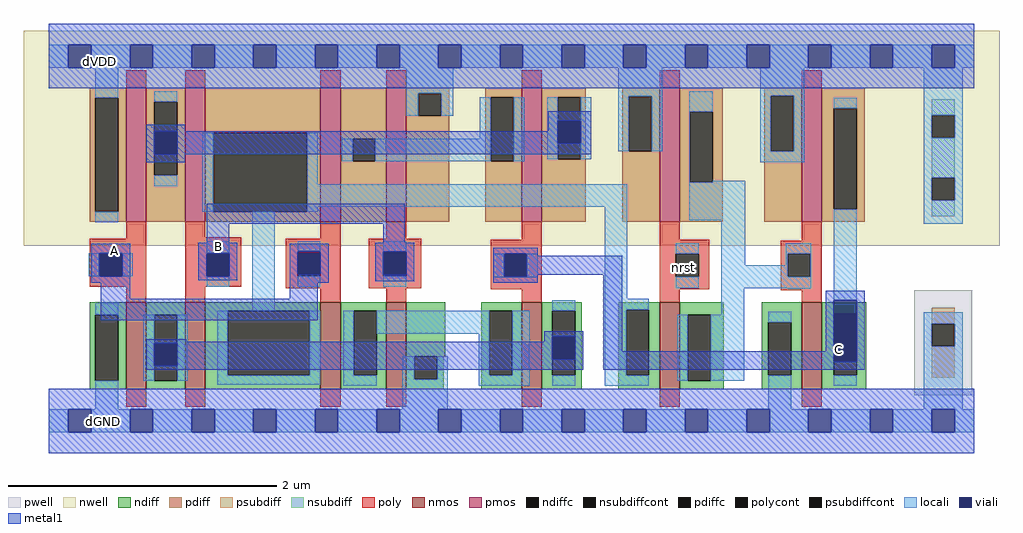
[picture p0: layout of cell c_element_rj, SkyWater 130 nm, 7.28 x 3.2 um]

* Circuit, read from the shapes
.subckt c_element_rj nrst A dVDD B C dGND
XM1 n1 A dGND dGND sky130_fd_pr__nfet_01v8 w=0.65 l=0.15
XM2 n2 B n1 dGND sky130_fd_pr__nfet_01v8 w=0.65 l=0.15
XM3 n3 A n2 dGND sky130_fd_pr__nfet_01v8 w=0.65 l=0.15
XM4 dGND B n3 dGND sky130_fd_pr__nfet_01v8 w=0.65 l=0.15
XM5 n1 C n3 dGND sky130_fd_pr__nfet_01v8 w=0.65 l=0.15
XM6 n4 nrst n2 dGND sky130_fd_pr__nfet_01v8 w=0.65 l=0.15
XM7 C n4 dGND dGND sky130_fd_pr__nfet_01v8 w=0.65 l=0.15
XM8 n5 A dVDD dVDD sky130_fd_pr__pfet_01v8 w=1 l=0.15
XM9 n2 B n5 dVDD sky130_fd_pr__pfet_01v8 w=1 l=0.15
XM10 n6 A n2 dVDD sky130_fd_pr__pfet_01v8 w=1 l=0.15
XM11 dVDD B n6 dVDD sky130_fd_pr__pfet_01v8 w=1 l=0.15
XM12 n5 C n6 dVDD sky130_fd_pr__pfet_01v8 w=1 l=0.15
XM13 n4 nrst dVDD dVDD sky130_fd_pr__pfet_01v8 w=1 l=0.15
XM14 C n4 dVDD dVDD sky130_fd_pr__pfet_01v8 w=1 l=0.15
.ends

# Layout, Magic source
magic
tech sky130A
magscale 1 2
<< nwell >>
rect 0 309 1456 630
<< pwell >>
rect 1329 86 1415 243
<< nmos >>
rect 153 95 183 225
rect 241 95 271 225
rect 443 95 473 225
rect 541 95 571 225
rect 743 95 773 225
rect 949 95 979 225
rect 1161 95 1191 225
<< pmos >>
rect 153 345 183 545
rect 241 345 271 545
rect 443 345 473 545
rect 541 345 571 545
rect 743 345 773 545
rect 949 345 979 545
rect 1161 345 1191 545
<< ndiff >>
rect 99 206 153 225
rect 99 108 107 206
rect 141 108 153 206
rect 99 95 153 108
rect 183 206 241 225
rect 183 108 195 206
rect 229 108 241 206
rect 183 95 241 108
rect 271 212 443 225
rect 271 116 305 212
rect 427 116 443 212
rect 271 95 443 116
rect 473 212 541 225
rect 473 116 493 212
rect 527 116 541 212
rect 473 95 541 116
rect 571 144 629 225
rect 683 212 743 225
rect 571 110 583 144
rect 617 110 627 144
rect 571 95 627 110
rect 683 116 695 212
rect 729 116 743 212
rect 683 95 743 116
rect 773 212 833 225
rect 773 116 789 212
rect 823 116 833 212
rect 773 95 833 116
rect 887 214 949 225
rect 887 116 899 214
rect 933 116 949 214
rect 887 95 949 116
rect 979 206 1045 225
rect 979 108 991 206
rect 1025 108 1045 206
rect 979 95 1045 108
rect 1101 195 1161 225
rect 1101 116 1111 195
rect 1145 116 1161 195
rect 1101 95 1161 116
rect 1191 208 1257 225
rect 1191 116 1209 208
rect 1243 116 1257 208
rect 1191 95 1257 116
<< pdiff >>
rect 99 530 153 545
rect 99 360 107 530
rect 141 360 153 530
rect 99 345 153 360
rect 183 524 241 545
rect 183 414 195 524
rect 229 414 241 524
rect 183 345 241 414
rect 271 478 443 545
rect 271 360 283 478
rect 423 360 443 478
rect 271 345 443 360
rect 473 469 541 545
rect 473 435 491 469
rect 525 435 541 469
rect 473 345 541 435
rect 571 537 635 545
rect 571 503 589 537
rect 623 503 635 537
rect 571 345 635 503
rect 689 531 743 545
rect 689 435 697 531
rect 731 435 743 531
rect 689 345 743 435
rect 773 531 839 545
rect 773 438 797 531
rect 831 438 839 531
rect 773 345 839 438
rect 893 532 949 545
rect 893 450 903 532
rect 937 450 949 532
rect 893 345 949 450
rect 979 509 1043 545
rect 979 404 994 509
rect 1028 404 1043 509
rect 979 345 1043 404
rect 1105 533 1161 545
rect 1105 450 1115 533
rect 1149 450 1161 533
rect 1105 345 1161 450
rect 1191 514 1255 545
rect 1191 364 1209 514
rect 1243 364 1255 514
rect 1191 345 1255 364
<< ndiffc >>
rect 107 108 141 206
rect 195 108 229 206
rect 305 116 427 212
rect 493 116 527 212
rect 583 110 617 144
rect 695 116 729 212
rect 789 116 823 212
rect 899 116 933 214
rect 991 108 1025 206
rect 1111 116 1145 195
rect 1209 116 1243 208
<< pdiffc >>
rect 107 360 141 530
rect 195 414 229 524
rect 283 360 423 478
rect 491 435 525 469
rect 589 503 623 537
rect 697 435 731 531
rect 797 438 831 531
rect 903 450 937 532
rect 994 404 1028 509
rect 1115 450 1149 533
rect 1209 364 1243 514
<< psubdiff >>
rect 1355 193 1389 217
rect 1355 112 1389 159
<< nsubdiff >>
rect 1355 504 1389 528
rect 1355 411 1389 470
rect 1355 353 1389 377
<< psubdiffcont >>
rect 1355 159 1389 193
<< nsubdiffcont >>
rect 1355 470 1389 504
rect 1355 377 1389 411
<< poly >>
rect 153 545 183 571
rect 241 545 271 571
rect 443 545 473 571
rect 541 545 571 571
rect 743 545 773 571
rect 949 545 979 571
rect 1161 545 1191 571
rect 153 320 183 345
rect 99 298 183 320
rect 99 264 113 298
rect 147 264 183 298
rect 99 248 183 264
rect 153 225 183 248
rect 241 322 271 345
rect 241 298 325 322
rect 443 320 473 345
rect 541 320 571 345
rect 241 264 273 298
rect 307 264 325 298
rect 241 248 325 264
rect 391 298 473 320
rect 391 264 409 298
rect 443 264 473 298
rect 241 225 271 248
rect 391 246 473 264
rect 515 298 593 320
rect 743 318 773 345
rect 515 264 537 298
rect 571 264 593 298
rect 515 246 593 264
rect 697 297 773 318
rect 697 263 717 297
rect 751 263 773 297
rect 443 225 473 246
rect 541 225 571 246
rect 697 244 773 263
rect 743 225 773 244
rect 949 318 979 345
rect 949 297 1023 318
rect 1161 317 1191 345
rect 949 263 973 297
rect 1007 263 1023 297
rect 949 244 1023 263
rect 1130 297 1191 317
rect 1130 263 1140 297
rect 1174 263 1191 297
rect 949 225 979 244
rect 1130 243 1191 263
rect 1161 225 1191 243
rect 153 69 183 95
rect 241 69 271 95
rect 443 69 473 95
rect 541 69 571 95
rect 743 69 773 95
rect 949 69 979 95
rect 1161 69 1191 95
<< polycont >>
rect 113 264 147 298
rect 273 264 307 298
rect 409 264 443 298
rect 537 264 571 298
rect 717 263 751 297
rect 973 263 1007 297
rect 1140 263 1174 297
<< locali >>
rect 38 575 67 609
rect 101 575 159 609
rect 193 575 251 609
rect 285 575 343 609
rect 377 575 435 609
rect 469 575 527 609
rect 561 575 619 609
rect 653 575 711 609
rect 745 575 803 609
rect 837 575 895 609
rect 929 575 987 609
rect 1021 575 1079 609
rect 1113 575 1171 609
rect 1205 575 1263 609
rect 1297 575 1355 609
rect 1389 575 1418 609
rect 103 574 141 575
rect 567 574 641 575
rect 107 530 141 574
rect 195 524 229 540
rect 571 537 641 574
rect 571 503 589 537
rect 623 503 641 537
rect 887 532 953 575
rect 195 398 229 414
rect 267 360 283 478
rect 423 401 439 478
rect 681 469 697 531
rect 475 435 491 469
rect 525 435 697 469
rect 731 435 747 531
rect 781 438 797 531
rect 831 438 847 531
rect 887 450 903 532
rect 937 450 953 532
rect 993 509 1028 540
rect 993 404 994 509
rect 1099 533 1165 575
rect 1099 450 1115 533
rect 1149 450 1165 533
rect 1099 434 1165 450
rect 1209 514 1243 530
rect 1028 404 1077 406
rect 423 367 901 401
rect 423 360 439 367
rect 107 344 141 360
rect 273 298 307 316
rect 97 264 113 298
rect 147 264 163 298
rect 273 248 307 264
rect 107 206 141 224
rect 341 212 375 360
rect 409 301 443 316
rect 409 248 443 264
rect 537 300 571 316
rect 537 248 571 264
rect 701 263 717 297
rect 751 263 767 297
rect 701 262 767 263
rect 867 230 901 367
rect 993 347 1077 404
rect 973 297 1007 313
rect 973 246 1007 263
rect 1041 280 1077 347
rect 1137 297 1175 313
rect 1137 280 1140 297
rect 1041 263 1140 280
rect 1174 263 1175 297
rect 1041 246 1175 263
rect 789 212 823 228
rect 179 108 195 206
rect 229 108 245 206
rect 289 116 305 212
rect 427 116 443 212
rect 107 65 141 108
rect 289 102 443 116
rect 477 116 493 212
rect 527 178 695 212
rect 477 100 527 116
rect 565 110 583 144
rect 617 110 633 144
rect 565 65 633 110
rect 679 116 695 178
rect 729 116 755 212
rect 679 100 755 116
rect 789 100 823 116
rect 867 214 933 230
rect 867 116 899 214
rect 1041 206 1075 246
rect 1140 245 1174 246
rect 1209 228 1243 364
rect 1343 504 1401 575
rect 1343 470 1355 504
rect 1389 470 1401 504
rect 1343 411 1401 470
rect 1343 377 1355 411
rect 1389 377 1401 411
rect 1343 342 1401 377
rect 867 100 933 116
rect 975 108 991 206
rect 1025 108 1075 206
rect 1111 195 1145 211
rect 1111 65 1145 116
rect 1209 100 1243 116
rect 1343 193 1401 210
rect 1343 159 1355 193
rect 1389 159 1401 193
rect 1343 65 1401 159
rect 38 31 67 65
rect 101 31 159 65
rect 193 31 251 65
rect 285 31 343 65
rect 377 31 435 65
rect 469 31 527 65
rect 561 31 619 65
rect 653 31 711 65
rect 745 31 803 65
rect 837 31 895 65
rect 929 31 987 65
rect 1021 31 1079 65
rect 1113 31 1171 65
rect 1205 31 1263 65
rect 1297 31 1355 65
rect 1389 31 1418 65
<< viali >>
rect 67 575 101 609
rect 159 575 193 609
rect 251 575 285 609
rect 343 575 377 609
rect 435 575 469 609
rect 527 575 561 609
rect 619 575 653 609
rect 711 575 745 609
rect 803 575 837 609
rect 895 575 929 609
rect 987 575 1021 609
rect 1079 575 1113 609
rect 1171 575 1205 609
rect 1263 575 1297 609
rect 1355 575 1389 609
rect 195 446 229 480
rect 797 462 831 496
rect 113 264 147 298
rect 273 264 307 298
rect 409 298 443 301
rect 409 267 443 298
rect 537 298 571 300
rect 537 266 571 298
rect 717 263 751 297
rect 195 130 229 164
rect 789 140 823 174
rect 1209 208 1243 228
rect 1209 136 1243 208
rect 67 31 101 65
rect 159 31 193 65
rect 251 31 285 65
rect 343 31 377 65
rect 435 31 469 65
rect 527 31 561 65
rect 619 31 653 65
rect 711 31 745 65
rect 803 31 837 65
rect 895 31 929 65
rect 987 31 1021 65
rect 1079 31 1113 65
rect 1171 31 1205 65
rect 1263 31 1297 65
rect 1355 31 1389 65
<< metal1 >>
rect 38 609 1418 640
rect 38 575 67 609
rect 101 575 159 609
rect 193 575 251 609
rect 285 575 343 609
rect 377 575 435 609
rect 469 575 527 609
rect 561 575 619 609
rect 653 575 711 609
rect 745 575 803 609
rect 837 575 895 609
rect 929 575 987 609
rect 1021 575 1079 609
rect 1113 575 1171 609
rect 1205 575 1263 609
rect 1297 575 1355 609
rect 1389 575 1418 609
rect 38 544 1418 575
rect 783 496 847 510
rect 183 480 241 490
rect 783 480 797 496
rect 183 446 195 480
rect 229 462 797 480
rect 831 462 847 496
rect 229 446 847 462
rect 183 434 241 446
rect 273 342 569 372
rect 273 314 307 342
rect 537 314 569 342
rect 101 298 159 312
rect 101 264 113 298
rect 147 264 159 298
rect 101 254 159 264
rect 261 298 319 314
rect 261 264 273 298
rect 307 264 319 298
rect 261 258 319 264
rect 397 301 455 312
rect 397 267 409 301
rect 443 267 455 301
rect 115 230 159 254
rect 397 254 455 267
rect 525 300 583 314
rect 525 266 537 300
rect 571 266 583 300
rect 525 256 583 266
rect 701 297 767 306
rect 701 263 717 297
rect 751 294 767 297
rect 751 266 893 294
rect 751 263 767 266
rect 701 254 767 263
rect 397 230 439 254
rect 115 198 439 230
rect 777 174 835 182
rect 183 166 243 170
rect 777 166 789 174
rect 183 164 789 166
rect 183 130 195 164
rect 229 140 789 164
rect 823 140 835 174
rect 229 130 835 140
rect 183 124 835 130
rect 865 152 893 266
rect 1197 228 1255 242
rect 1197 152 1209 228
rect 865 136 1209 152
rect 1243 136 1255 228
rect 865 124 1255 136
rect 38 65 1418 96
rect 38 31 67 65
rect 101 31 159 65
rect 193 31 251 65
rect 285 31 343 65
rect 377 31 435 65
rect 469 31 527 65
rect 561 31 619 65
rect 653 31 711 65
rect 745 31 803 65
rect 837 31 895 65
rect 929 31 987 65
rect 1021 31 1079 65
rect 1113 31 1171 65
rect 1205 31 1263 65
rect 1297 31 1355 65
rect 1389 31 1418 65
rect 38 0 1418 31
<< labels >>
flabel polycont 982 270 988 284 1 FreeSans 320 0 0 0 nrst
port 7 n
flabel metal1 127 299 145 306 1 FreeSans 320 0 0 0 A
port 8 n
flabel metal1 109 581 119 588 1 FreeSans 320 0 0 0 dVDD
port 10 n
flabel metal1 288 306 293 311 1 FreeSans 320 0 0 0 B
port 12 n
flabel metal1 1203 140 1228 170 1 FreeSans 320 0 0 0 C
port 13 n
flabel metal1 110 43 130 50 1 FreeSans 320 0 0 0 dGND
port 14 n
<< end >>
